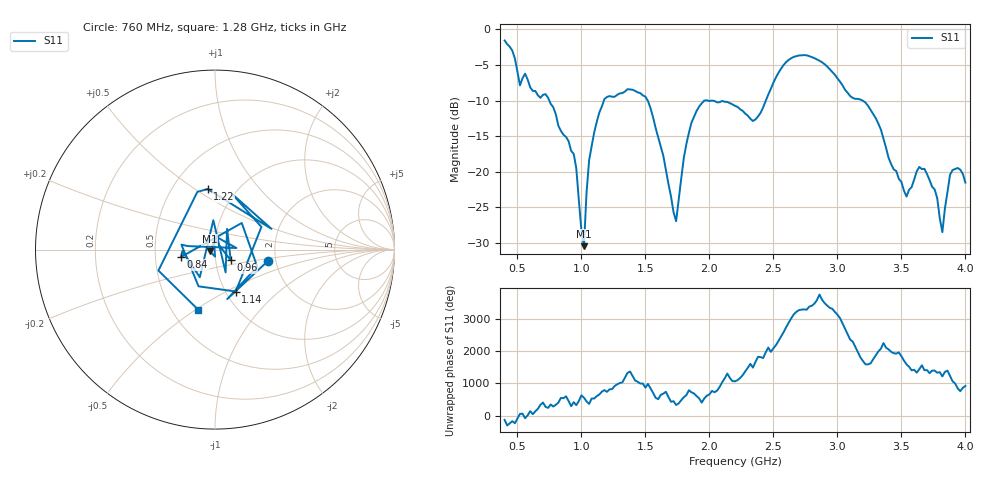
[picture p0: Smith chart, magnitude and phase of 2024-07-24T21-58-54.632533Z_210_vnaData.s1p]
!Created with skrf (http://scikit-rf.org).
# Hz S RI R 50.0
!freq ReS11 ImS11
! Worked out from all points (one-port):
!   181 points, 400 MHz to 4 GHz, reference 50 ohm
!   lowest |S11| = -30.4 dB at 1.02 GHz (marker M1), VSWR 1.06, Z = 47.2 - j0.923 ohm
!   |S11| at or under -10 dB: 1.518 GHz to 1.961 GHz (443.2 MHz wide, 25.5 % of centre); 1.987 GHz to 2.441 GHz (453.7 MHz wide, 20.5 % of centre); 3.196 GHz to end of sweep (the widest 3 of 4)
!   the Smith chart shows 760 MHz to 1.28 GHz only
!   S11 on the Smith chart (normalised r, x): 760 MHz: 1.80, -0.26; 840 MHz: 0.68, -0.06; 960 MHz: 1.18, -0.14; 1.14 GHz: 1.11, -0.56; 1.22 GHz: 0.74, +0.56; 1.28 GHz: 0.67, -0.51
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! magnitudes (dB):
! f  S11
! 400 MHz  -1.6
! 520 MHz  -7.9
! 760 MHz  -10.5
! 840 MHz  -14.3
! 860 MHz  -14.8
! 960 MHz  -19.5
! 1.02 GHz  -30.4
! 1.06 GHz  -18.4
! 1.14 GHz  -11.7
! 1.22 GHz  -9.4
! 1.28 GHz  -9.2
! 1.3 GHz  -9.0
! 1.52 GHz  -10.1
! 1.74 GHz  -26.9
! 1.76 GHz  -23.9
! 1.82 GHz  -16.1
! 1.92 GHz  -10.8
! 2.2 GHz  -10.7
! 2.36 GHz  -12.6
! 2.66 GHz  -3.9
! 3.1 GHz  -9.4
! 3.24 GHz  -10.8
! 3.56 GHz  -22.5
! 3.68 GHz  -19.6
! 3.78 GHz  -23.7
! 3.82 GHz  -28.5
! 3.88 GHz  -20.4
! 4 GHz  -21.5
